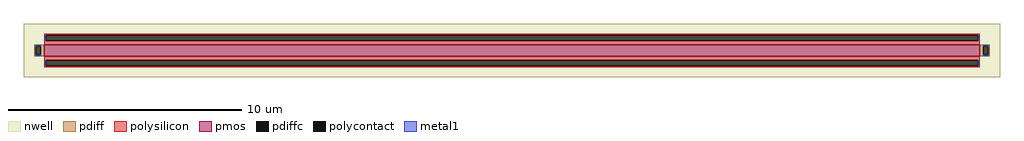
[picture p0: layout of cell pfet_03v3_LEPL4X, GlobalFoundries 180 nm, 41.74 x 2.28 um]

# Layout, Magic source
magic
tech gf180mcuD
magscale 1 10
<< nwell >>
rect -4174 -228 4174 228
<< pmos >>
rect -4000 -50 4000 50
<< pdiff >>
rect -4088 37 -4000 50
rect -4088 -37 -4075 37
rect -4029 -37 -4000 37
rect -4088 -50 -4000 -37
rect 4000 37 4088 50
rect 4000 -37 4029 37
rect 4075 -37 4088 37
rect 4000 -50 4088 -37
<< pdiffc >>
rect -4075 -37 -4029 37
rect 4029 -37 4075 37
<< polysilicon >>
rect -4000 129 4000 142
rect -4000 83 -3987 129
rect 3987 83 4000 129
rect -4000 50 4000 83
rect -4000 -83 4000 -50
rect -4000 -129 -3987 -83
rect 3987 -129 4000 -83
rect -4000 -142 4000 -129
<< polycontact >>
rect -3987 83 3987 129
rect -3987 -129 3987 -83
<< metal1 >>
rect -3998 83 -3987 129
rect 3987 83 3998 129
rect -4075 37 -4029 48
rect -4075 -48 -4029 -37
rect 4029 37 4075 48
rect 4029 -48 4075 -37
rect -3998 -129 -3987 -83
rect 3987 -129 3998 -83
<< properties >>
string gencell pfet_03v3
string library gf180mcu
string parameters w 0.5 l 40 m 1 nf 1 diffcov 100 polycov 100 guard 0 glc 0 grc 0 gtc 0 gbc 0 tbcov 100 rlcov 100 topc 1 botc 1 poverlap 0 doverlap 1 lmin 0.28 wmin 0.22 class mosfet full_metal 0 compatible {pfet_03v3 pfet_05v0 pfet_06v0}
<< end >>
